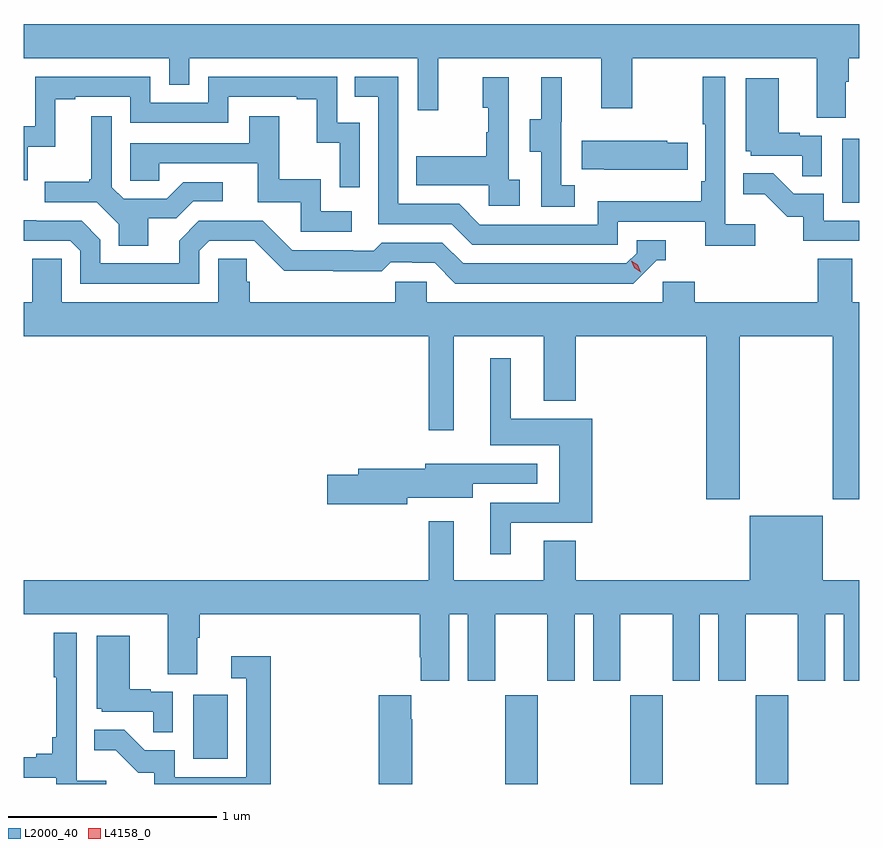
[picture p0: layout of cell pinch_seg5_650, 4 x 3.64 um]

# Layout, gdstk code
import gdstk
lib = gdstk.Library(unit=1e-6, precision=1e-09)
def R(c, l, rs):  # rectangles x0, y0, x1, y1
    for r in rs: c.add(gdstk.rectangle(r[:2], r[2:], *l))
def A(c, l, x, y, w, h, nx, ny, dx, dy):  # array of equal rectangles
    R(c, l, [(x+i*dx, y+j*dy, x+i*dx+w, y+j*dy+h) for i in range(nx) for j in range(ny)])
def P(c, l, *ps):  # polygons
    for p in ps: c.add(gdstk.Polygon(p, *l))
L2000_40 = (2000, 40)
L4158_0 = (4158, 0)

pinch_seg5_650 = lib.new_cell('pinch_seg5_650')
A(pinch_seg5_650, L2000_40, 1071.505, 834.636, 0.155, 0.424, 3, 1, 0.6, 0)
R(pinch_seg5_650, L2000_40, [(1070.012,834.756,1070.176,835.063), (1073.12,837.42,1073.2,837.727)])
P(pinch_seg5_650, L2000_40, [(1073.137,838),(1073.15,838),(1073.15,838.112),(1073.2,838.112),(1073.2,838.276),(1069.2,838.276),(1069.2,838.112),(1069.896,838.112),(1069.896,837.985),(1069.992,837.985),(1069.992,838.112),(1071.087,838.112),(1071.087,837.864),(1071.185,837.864),(1071.185,838.112),(1071.965,838.112),(1071.965,837.873),(1072.113,837.873),(1072.113,838.112),(1072.997,838.112),(1072.997,837.826),(1073.137,837.826)],
  [(1072.702,837.316),(1072.56,837.316),(1072.56,838.024),(1072.452,838.024),(1072.452,837.796),(1072.464,837.796),(1072.464,837.523),(1072.444,837.523),(1072.444,837.427),(1071.948,837.427),(1071.948,837.315),(1071.384,837.315),(1071.285,837.414),(1070.994,837.414),(1070.994,838.023),(1070.785,838.023),(1070.785,837.927),(1070.898,837.927),(1070.898,837.318),(1071.248,837.318),(1071.347,837.219),(1072.044,837.219),(1072.044,837.33),(1072.463,837.33),(1072.463,837.214),(1072.702,837.214)],
  [(1070.808,837.804),(1070.7,837.804),(1070.7,838.023),(1070.082,838.023),(1070.082,837.9),(1069.806,837.9),(1069.806,838.023),(1069.254,838.023),(1069.254,837.787),(1069.2,837.787),(1069.2,837.528),(1069.218,837.528),(1069.218,837.689),(1069.351,837.689),(1069.351,837.915),(1069.447,837.915),(1069.447,837.927),(1069.71,837.927),(1069.71,837.804),(1070.178,837.804),(1070.178,837.927),(1070.507,837.927),(1070.507,837.915),(1070.603,837.915),(1070.603,837.707),(1070.712,837.707),(1070.712,837.495),(1070.808,837.495)],
  [(1071.838,837.503),(1071.774,837.503),(1071.774,837.807),(1071.776,837.807),(1071.776,838.021),(1071.677,838.021),(1071.677,837.819),(1071.623,837.819),(1071.623,837.664),(1071.678,837.664),(1071.678,837.4),(1071.838,837.4)],
  [(1071.574,837.53),(1071.522,837.53),(1071.522,838.021),(1071.398,838.021),(1071.398,837.876),(1071.424,837.876),(1071.424,837.758),(1071.414,837.758),(1071.414,837.643),(1071.079,837.643),(1071.079,837.503),(1071.426,837.503),(1071.426,837.405),(1071.574,837.405)],
  [(1073.022,837.741),(1072.916,837.741),(1072.916,837.754),(1072.816,837.754),(1072.816,838.015),(1072.658,838.015),(1072.658,837.666),(1072.68,837.666),(1072.68,837.645),(1072.927,837.645),(1072.927,837.547),(1073.022,837.547)],
  [(1070.77,837.378),(1070.622,837.378),(1070.622,837.532),(1070.423,837.532),(1070.423,837.835),(1070.279,837.835),(1070.279,837.705),(1069.71,837.705),(1069.71,837.525),(1069.847,837.525),(1069.847,837.609),(1070.321,837.609),(1070.321,837.423),(1070.526,837.423),(1070.526,837.282),(1070.77,837.282)],
  [(1069.795,837.346),(1069.93,837.346),(1070.01,837.426),(1070.152,837.426),(1070.152,837.519),(1069.964,837.519),(1069.883,837.438),(1069.677,837.438),(1069.62,837.495),(1069.62,837.835),(1069.523,837.835),(1069.523,837.532),(1069.512,837.532),(1069.512,837.52),(1069.299,837.52),(1069.299,837.423),(1069.548,837.423),(1069.655,837.316),(1069.655,837.214),(1069.795,837.214)],
  [(1072.379,837.708),(1072.281,837.708),(1072.281,837.718),(1071.871,837.718),(1071.871,837.581),(1071.979,837.581),(1071.979,837.578),(1072.379,837.578)],
  [(1073.2,837.333),(1073.031,837.333),(1073.031,837.462),(1072.887,837.462),(1072.789,837.56),(1072.645,837.56),(1072.645,837.461),(1072.749,837.461),(1072.856,837.354),(1072.933,837.354),(1072.933,837.237),(1073.2,837.237)],
  [(1070.04,837.189),(1070.088,837.237),(1070.304,837.237),(1070.446,837.095),(1070.682,837.095),(1070.682,837.093),(1070.915,837.093),(1070.957,837.135),(1071.06,837.135),(1071.06,837.132),(1071.167,837.132),(1071.266,837.033),(1072.119,837.033),(1072.23,837.144),(1072.273,837.144),(1072.273,837.24),(1072.134,837.24),(1072.134,837.177),(1072.086,837.129),(1071.303,837.129),(1071.204,837.228),(1070.915,837.228),(1070.876,837.189),(1070.777,837.189),(1070.777,837.192),(1070.484,837.192),(1070.343,837.333),(1070.037,837.333),(1069.943,837.239),(1069.943,837.129),(1069.566,837.129),(1069.566,837.243),(1069.476,837.333),(1069.26,837.333),(1069.26,837.335),(1069.2,837.335),(1069.2,837.237),(1069.422,837.237),(1069.47,837.189),(1069.47,837.033),(1070.04,837.033)],
  [(1072.629,836.78),(1073.074,836.78),(1073.074,836.001),(1073.2,836.001),(1073.2,836.944),(1073.168,836.944),(1073.168,837.152),(1073.003,837.152),(1073.003,836.944),(1072.412,836.944),(1072.412,837.042),(1072.26,837.042),(1072.26,836.944),(1071.129,836.944),(1071.129,837.042),(1070.979,837.042),(1070.979,836.944),(1070.282,836.944),(1070.282,837.042),(1070.267,837.042),(1070.267,837.152),(1070.13,837.152),(1070.13,836.944),(1069.38,836.944),(1069.38,837.152),(1069.241,837.152),(1069.241,836.944),(1069.2,836.944),(1069.2,836.78),(1071.138,836.78),(1071.138,836.331),(1071.259,836.331),(1071.259,836.78),(1071.689,836.78),(1071.689,836.471),(1071.842,836.471),(1071.842,836.78),(1072.469,836.78),(1072.469,836.001),(1072.629,836.001)],
  [(1071.532,835.887),(1071.923,835.887),(1071.923,836.386),(1071.532,836.386),(1071.532,836.674),(1071.434,836.674),(1071.434,836.258),(1071.764,836.258),(1071.764,835.983),(1071.434,835.983),(1071.434,835.737),(1071.532,835.737)],
  [(1071.036,836.006),(1071.349,836.006),(1071.349,836.073),(1071.658,836.073),(1071.658,836.169),(1071.345,836.169),(1071.345,836.17),(1071.122,836.17),(1071.122,836.147),(1070.801,836.147),(1070.801,836.117),(1070.652,836.117),(1070.652,835.975),(1071.036,835.975)],
  [(1071.326,835.131),(1071.457,835.131),(1071.457,835.448),(1071.707,835.448),(1071.707,835.131),(1071.838,835.131),(1071.838,835.448),(1071.926,835.448),(1071.926,835.131),(1072.057,835.131),(1072.057,835.448),(1072.307,835.448),(1072.307,835.131),(1072.438,835.131),(1072.438,835.448),(1072.526,835.448),(1072.526,835.131),(1072.657,835.131),(1072.657,835.448),(1072.907,835.448),(1072.907,835.131),(1073.038,835.131),(1073.038,835.448),(1073.126,835.448),(1073.126,835.131),(1073.2,835.131),(1073.2,835.612),(1073.026,835.612),(1073.026,835.921),(1072.676,835.921),(1072.676,835.612),(1071.842,835.612),(1071.842,835.802),(1071.689,835.802),(1071.689,835.612),(1071.259,835.612),(1071.259,835.894),(1071.138,835.894),(1071.138,835.612),(1069.2,835.612),(1069.2,835.448),(1069.889,835.448),(1069.889,835.162),(1070.029,835.162),(1070.029,835.336),(1070.042,835.336),(1070.042,835.448),(1071.095,835.448),(1071.095,835.243),(1071.101,835.243),(1071.101,835.131),(1071.238,835.131),(1071.238,835.448),(1071.326,835.448)],
  [(1069.594,834.652),(1069.452,834.652),(1069.452,835.36),(1069.344,835.36),(1069.344,835.147),(1069.355,835.147),(1069.355,834.859),(1069.336,834.859),(1069.336,834.782),(1069.259,834.782),(1069.259,834.763),(1069.2,834.763),(1069.2,834.666),(1069.355,834.666),(1069.355,834.636),(1069.594,834.636)],
  [(1069.914,835.077),(1069.808,835.077),(1069.808,835.09),(1069.708,835.09),(1069.708,835.345),(1069.55,835.345),(1069.55,834.996),(1069.572,834.996),(1069.572,834.981),(1069.819,834.981),(1069.819,834.883),(1069.914,834.883)],
  [(1070.381,835.249),(1070.193,835.249),(1070.193,835.143),(1070.265,835.143),(1070.265,834.669),(1069.923,834.669),(1069.923,834.798),(1069.779,834.798),(1069.681,834.896),(1069.537,834.896),(1069.537,834.797),(1069.641,834.797),(1069.748,834.69),(1069.825,834.69),(1069.825,834.636),(1070.381,834.636)],
  [(1071.06,834.947),(1071.055,834.947),(1071.055,835.06),(1070.9,835.06),(1070.9,834.636),(1071.06,834.636)])
P(pinch_seg5_650, L4158_0, [(1072.155,837.088),(1072.124,837.109),(1072.108,837.142),(1072.108,837.142),(1072.108,837.142),(1072.139,837.122),(1072.155,837.088),(1072.155,837.088)])

lib.write_gds('pinch_seg5_650.gds')
